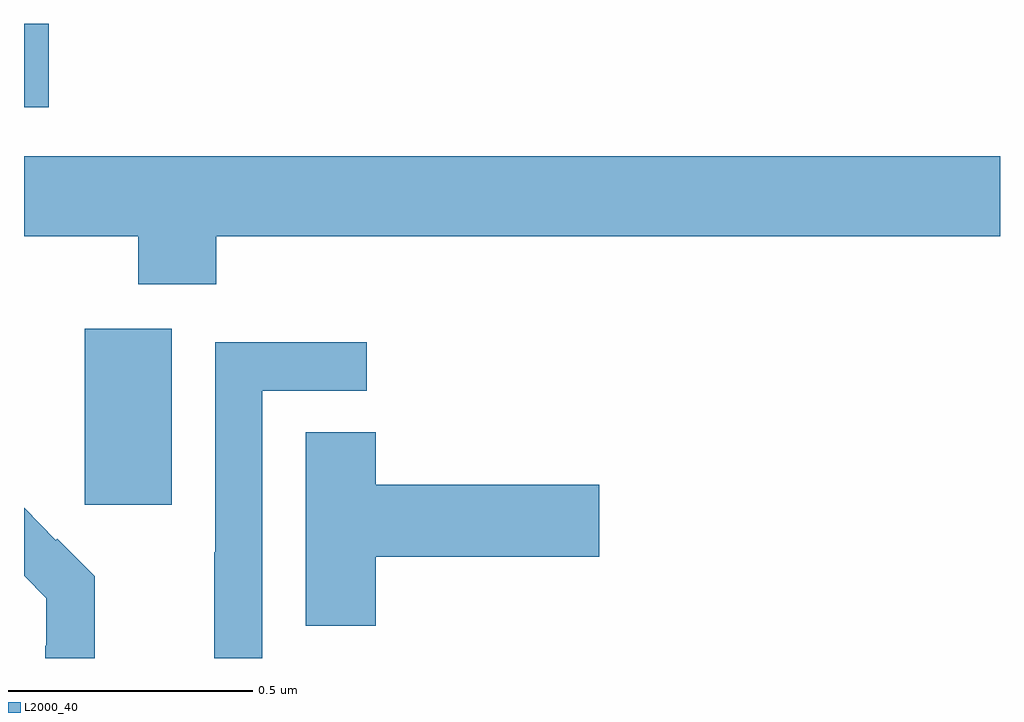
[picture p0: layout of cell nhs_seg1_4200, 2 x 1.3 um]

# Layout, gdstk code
import gdstk
lib = gdstk.Library(unit=1e-6, precision=1e-09)
def R(c, l, rs):  # rectangles x0, y0, x1, y1
    for r in rs: c.add(gdstk.rectangle(r[:2], r[2:], *l))
def P(c, l, *ps):  # polygons
    for p in ps: c.add(gdstk.Polygon(p, *l))
L2000_40 = (2000, 40)

nhs_seg1_4200 = lib.new_cell('nhs_seg1_4200')
R(nhs_seg1_4200, L2000_40, [(163.124,552.513,163.303,552.874), (163,553.328,163.051,553.499)])
P(nhs_seg1_4200, L2000_40, [(163.394,553.064),(165,553.064),(165,553.228),(163,553.228),(163,553.064),(163.234,553.064),(163.234,552.965),(163.394,552.965)],
  [(163.488,552.747),(163.702,552.747),(163.702,552.846),(163.392,552.846),(163.392,552.416),(163.39,552.416),(163.39,552.199),(163.488,552.199)],
  [(163.721,552.407),(164.179,552.407),(164.179,552.554),(163.721,552.554),(163.721,552.662),(163.577,552.662),(163.577,552.265),(163.721,552.265)],
  [(163.145,552.367),(163.068,552.444),(163.065,552.441),(163,552.507),(163,552.368),(163.046,552.322),(163.046,552.225),(163.044,552.225),(163.044,552.199),(163.145,552.199)])

lib.write_gds('nhs_seg1_4200.gds')
